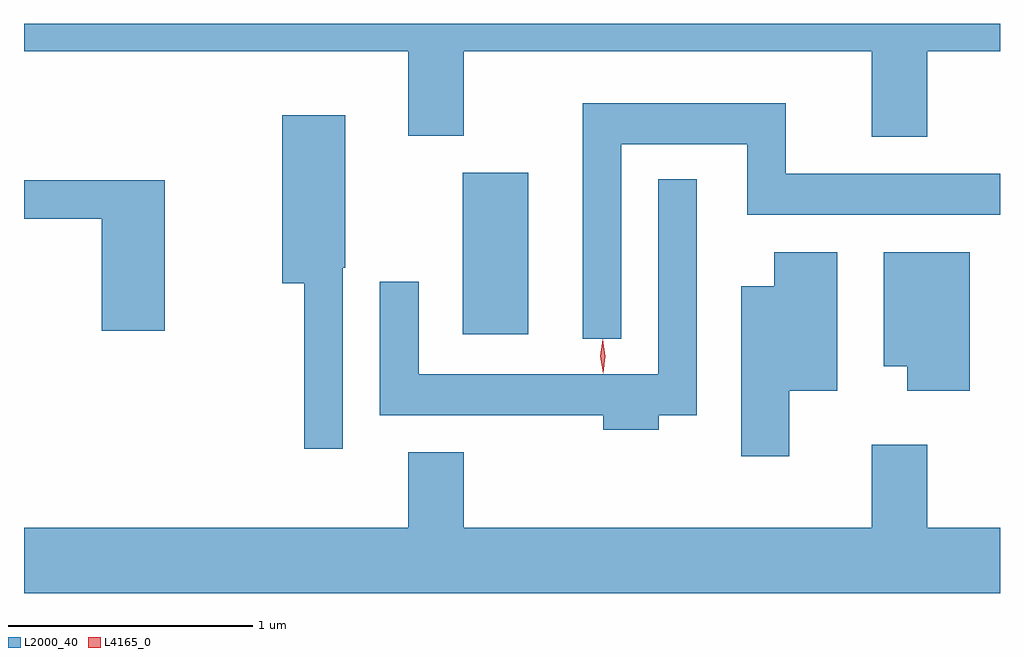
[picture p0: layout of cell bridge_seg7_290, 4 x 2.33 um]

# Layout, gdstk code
import gdstk
lib = gdstk.Library(unit=1e-6, precision=1e-09)
def R(c, l, rs):  # rectangles x0, y0, x1, y1
    for r in rs: c.add(gdstk.rectangle(r[:2], r[2:], *l))
def P(c, l, *ps):  # polygons
    for p in ps: c.add(gdstk.Polygon(p, *l))
L2000_40 = (2000, 40)
L4165_0 = (4165, 0)

bridge_seg7_290 = lib.new_cell('bridge_seg7_290')
R(bridge_seg7_290, L2000_40, [(1318.236,1797.516,1318.504,1798.179)])
P(bridge_seg7_290, L2000_40, [(1320.139,1798.676),(1320.437,1798.676),(1320.437,1798.789),(1316.437,1798.789),(1316.437,1798.676),(1318.011,1798.676),(1318.011,1798.331),(1318.239,1798.331),(1318.239,1798.676),(1319.911,1798.676),(1319.911,1798.326),(1320.139,1798.326)],
  [(1318.884,1798.296),(1319.401,1798.296),(1319.401,1798.006),(1320.437,1798.006),(1320.437,1798.174),(1319.559,1798.174),(1319.559,1798.464),(1318.726,1798.464),(1318.726,1797.498),(1318.884,1797.498)],
  [(1317.744,1797.79),(1317.754,1797.79),(1317.754,1798.414),(1317.496,1798.414),(1317.496,1797.726),(1317.586,1797.726),(1317.586,1797.048),(1317.744,1797.048)],
  [(1319.039,1797.186),(1319.194,1797.186),(1319.194,1798.153),(1319.036,1798.153),(1319.036,1797.354),(1318.054,1797.354),(1318.054,1797.733),(1317.896,1797.733),(1317.896,1797.186),(1318.811,1797.186),(1318.811,1797.126),(1319.039,1797.126)],
  [(1317.014,1798.149),(1316.437,1798.149),(1316.437,1797.991),(1316.756,1797.991),(1316.756,1797.531),(1317.014,1797.531)],
  [(1320.314,1797.854),(1319.961,1797.854),(1319.961,1797.386),(1320.056,1797.386),(1320.056,1797.286),(1320.314,1797.286)],
  [(1319.574,1797.286),(1319.769,1797.286),(1319.769,1797.854),(1319.511,1797.854),(1319.511,1797.714),(1319.376,1797.714),(1319.376,1797.016),(1319.574,1797.016)],
  [(1320.437,1796.724),(1320.139,1796.724),(1320.139,1797.064),(1319.911,1797.064),(1319.911,1796.724),(1318.239,1796.724),(1318.239,1797.034),(1318.011,1797.034),(1318.011,1796.724),(1316.437,1796.724),(1316.437,1796.456),(1320.437,1796.456)])
P(bridge_seg7_290, L4165_0, [(1318.81,1797.358),(1318.81,1797.358),(1318.799,1797.427),(1318.808,1797.496),(1318.808,1797.496),(1318.809,1797.496),(1318.819,1797.427),(1318.811,1797.358)],
  [(1318.81,1797.36),(1318.81,1797.36),(1318.799,1797.426),(1318.808,1797.493),(1318.808,1797.493),(1318.809,1797.493),(1318.819,1797.427),(1318.811,1797.36)])

lib.write_gds('bridge_seg7_290.gds')
